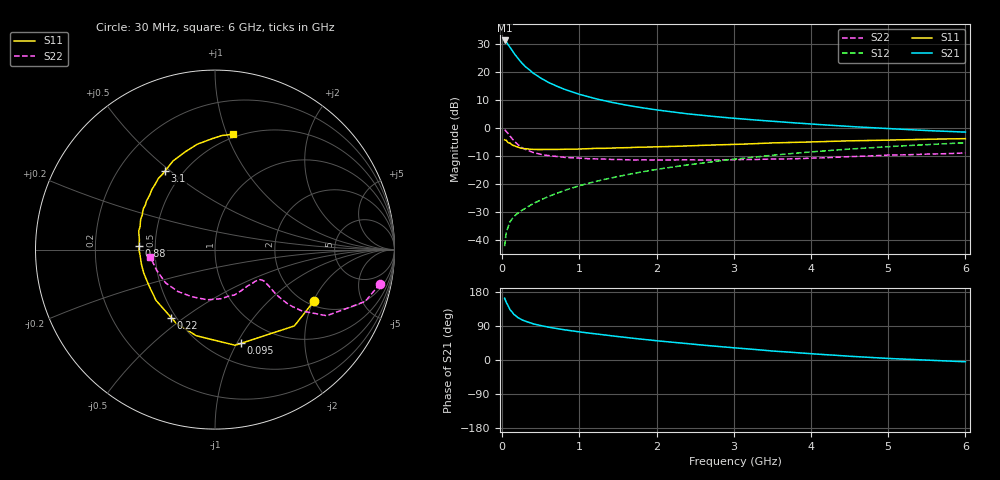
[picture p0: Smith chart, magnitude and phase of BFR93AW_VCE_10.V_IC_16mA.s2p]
! Infineon Technologies  Discrete & RF Semiconductors
! BFR93AW
! VCE =  10. V,  IC =  16 mA
! Common Emitter S-Parameters:  Nov 2015
# GHz  S  MA  R  50
!  f  S11  S21  S12  S22
! GHz  MAG  ANG  MAG  ANG  MAG  ANG  MAG  ANG
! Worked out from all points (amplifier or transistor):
!   206 points, 30 MHz to 6 GHz, reference 50 ohm
!   highest |S21| = 31.3 dB at 30 MHz (marker M1)
!   |S21| within 3 dB of that: start of sweep to 114.6 MHz
!   unconditionally stable (mu >= 1): 625.5 MHz to 2.205 GHz
!   at 200 MHz: K = 0.62, MSG = 27.6 dB, |S12| = -30.3 dB
!   at 1.56 GHz: K = 1.05, MAG = 11.3 dB, |S12| = -16.9 dB
!   at 6 GHz: K = 0.87, MSG = 1.9 dB, |S12| = -5.2 dB
!   S11 on the Smith chart (normalised r, x): 30 MHz: 2.16, -2.02; 95 MHz: 0.70, -1.04; 220 MHz: 0.47, -0.45; 880 MHz: 0.41, +0.02; 3.1 GHz: 0.40, +0.48; 6 GHz: 0.47, +1.05
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0.03  0.6214 -27.5  36.6 163.0  0.0079 72.8  0.939 -11.7
0.05  0.6134 -43.9  34.81 152.1  0.0134 70.2  0.8847 -19.1
0.095  0.542 -74.5  28.3 135.0  0.0207 62.3  0.7383 -29.2
0.1  0.5447 -78.1  27.77 132.7  0.0215 61.8  0.7238 -30.6
0.15  0.4911 -102.3  21.77 120.3  0.0266 57.6  0.5953 -35.2
0.2  0.4636 -117.9  17.61 112.2  0.0304 57.3  0.5122 -36.8
0.22  0.4508 -122.7  16.39 110.1  0.0319 57.4  0.4887 -36.7
0.26  0.4362 -132.1  14.18 105.5  0.0348 58.0  0.4462 -36.5
0.3  0.4336 -139.3  12.46 102.0  0.0374 59.7  0.4169 -36.1
0.4  0.4187 -152.7  9.569 95.4  0.0452 61.5  0.3688 -34.3
0.5  0.4179 -162.0  7.785 90.5  0.0528 64.8  0.3398 -33.3
0.6  0.4179 -168.4  6.531 86.5  0.0607 66.2  0.3245 -32.7
0.7  0.4176 -174.5  5.649 83.1  0.0688 67.1  0.3133 -32.9
0.88  0.4227 177.4  4.543 77.6  0.084 68.7  0.2987 -34.2
1.04  0.4274 171.1  3.872 73.1  0.0979 69.3  0.2901 -36.3
1.2  0.4376 165.9  3.376 68.9  0.1114 69.6  0.2843 -39.0
1.5  0.447 158.0  2.742 61.8  0.1377 69.1  0.2771 -45.0
2.02  0.4676 144.6  2.099 50.4  0.186 67.0  0.272 -57.7
3.1  0.5188 122.4  1.464 30.7  0.2896 59.1  0.2755 -85.9
4.1  0.5736 105.5  1.162 15.2  0.3872 49.4  0.2945 -119.3
5.1  0.6175 91.7  0.968 3.2  0.477 38.5  0.333 -149.2
6  0.6508 81.0  0.852 -4.7  0.5498 28.7  0.3627 -173.6
